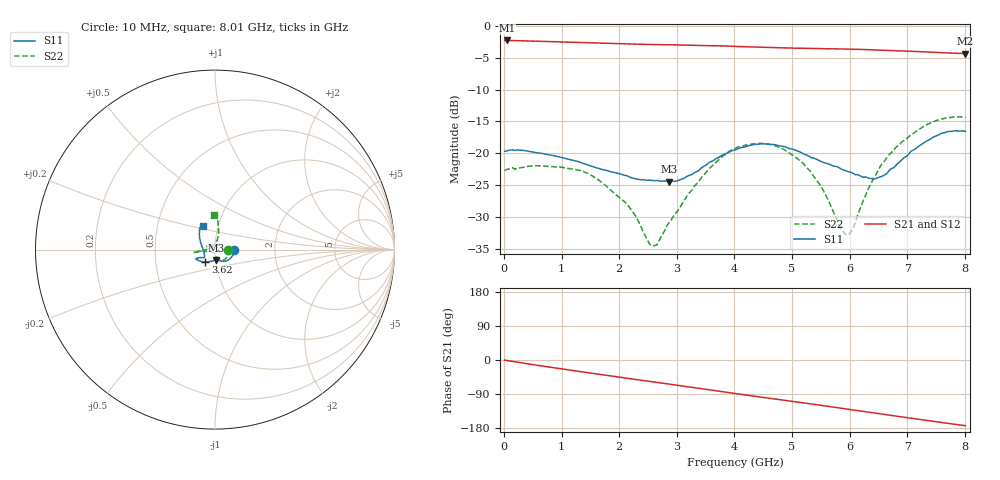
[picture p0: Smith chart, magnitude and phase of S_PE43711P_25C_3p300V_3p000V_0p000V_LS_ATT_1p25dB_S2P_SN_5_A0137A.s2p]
! Device ID: PE43711P
! File Path: z:\PE43711P\CHAR_NOM_04282014\AMB\3p300\LS_ATT_1p25dB\PE43711P_AMB_3p300V_3p000V_0p000V_LS_ATT_1p25dB_S2P_SN_5_A0137A.s2p
! Serial: 5
! Lot: A0137A
! Temp: 25C
! VDD: 3.300
! VSS: 0.000
! Control_Hi: 3.000
! Control_Lo: 0.000
! Attenuation Step: 1.25dB
! Port 1: RF1
! Port 2: RF2
! ThroughPath:1-2
! IDD: 0.0001275596
! ISS: -9.22e-008
#  Hz  S  RI  R  50
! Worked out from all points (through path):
!   801 points, 10 MHz to 8.01 GHz, reference 50 ohm
!   highest |S21| = -2.30 dB at 50 MHz (marker M1); lowest = -4.3 dB at 8.01 GHz (marker M2)
!   group delay of S21, straight-line fit = 59.6 ps
!   lowest |S11| = -24.4 dB at 2.86 GHz (marker M3), VSWR 1.13, Z = 50.1 - j6.02 ohm
!   |S11| at or under -10 dB: start of sweep to end of sweep
!   |S22| runs from -34.6 to -14.3 dB; largest |S21 - S12| = 0.0011
!   S11 on the Smith chart (normalised r, x): 10 MHz: 1.23, -0.00; 3.62 GHz: 0.89, -0.12; 8.01 GHz: 0.84, +0.23
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1e7  0.1038 -0.000537  0.7676 -0.00367  0.7678 -0.00384  0.0737 -0.000598
5e7  0.1047 -0.00258  0.7675 -0.0169  0.7674 -0.0169  0.0749 -0.002
6e8  0.091 -0.0427  0.7323 -0.1886  0.7324 -0.1886  0.0699 -0.0388
1.35e9  0.0524 -0.0658  0.6324 -0.3827  0.6326 -0.3827  0.0415 -0.0598
2.13e9  0.0243 -0.0621  0.4822 -0.5373  0.4825 -0.5376  0.00612 -0.0397
2.55e9  0.0177 -0.0591  0.389 -0.5984  0.3894 -0.5988  -0.00751 -0.0175
2.68e9  0.0137 -0.0596  0.3594 -0.6148  0.3597 -0.6152  -0.0147 -0.0137
2.86e9  0.00498 -0.0598  0.3168 -0.6355  0.3167 -0.6358  -0.0255 -0.0125
3.11e9  -0.0104 -0.0625  0.2542 -0.6587  0.2543 -0.6593  -0.0404 -0.0103
3.62e9  -0.0534 -0.069  0.1231 -0.6867  0.1228 -0.6875  -0.0794 -0.0102
4.01e9  -0.0863 -0.0624  0.0201 -0.6898  0.0197 -0.6904  -0.1084 -0.0147
4.7e9  -0.1054 -0.0506  -0.1498 -0.658  -0.1498 -0.6581  -0.1141 -0.0152
5.14e9  -0.0915 -0.0464  -0.2493 -0.6182  -0.2497 -0.6189  -0.0873 -0.00901
5.35e9  -0.0814 -0.0435  -0.2949 -0.5952  -0.2951 -0.5958  -0.0686 -0.00588
5.56e9  -0.0719 -0.0441  -0.3391 -0.5685  -0.3393 -0.5687  -0.0495 -0.00032
5.85e9  -0.0609 -0.0444  -0.3968 -0.5246  -0.3969 -0.5251  -0.0225 0.0122
5.96e9  -0.059 -0.0418  -0.4174 -0.5066  -0.4173 -0.507  -0.013 0.0187
6.06e9  -0.0581 -0.0387  -0.4358 -0.4891  -0.4361 -0.4891  -0.00497 0.0254
6.41e9  -0.0613 -0.0154  -0.4921 -0.422  -0.4923 -0.4225  0.015 0.0612
6.68e9  -0.0714 0.014  -0.5277 -0.3659  -0.5275 -0.3663  0.0191 0.0953
7.37e9  -0.0865 0.0928  -0.585 -0.211  -0.585 -0.2111  0.0134 0.17
8.01e9  -0.0689 0.1315  -0.602 -0.0698  -0.6025 -0.0689  -0.0068 0.191
